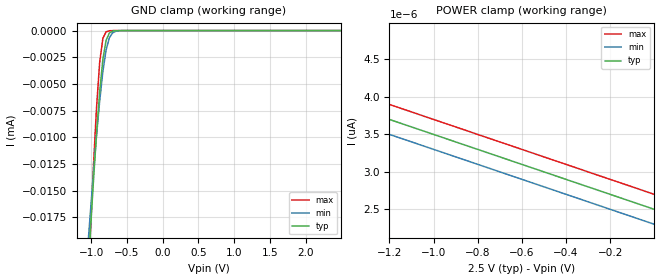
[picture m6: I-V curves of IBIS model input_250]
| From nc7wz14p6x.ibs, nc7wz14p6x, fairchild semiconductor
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[Model] input_250
Model_type Input
Vinh = 1.2V
Vinl = 0.8V
C_comp   0.27pF   0.26pF   0.34pF
[Voltage Range]   2.5V   2.3V   2.7V
[Temperature Range]   25.0   85.0   -40.0
[GND Clamp]
-2.5V     -213.9uA   -169.6uA   -279.2uA
-1.06V    -24.61uA   -21.54uA   -26.54uA
-1.015V   -19.38uA   -17.47uA   -19.61uA
-970mV    -14.4uA    -13.57uA   -13.11uA
-925mV    -9.784uA   -9.905uA   -7.344uA
-880mV    -5.752uA   -6.593uA   -2.963uA
-835mV    -2.675uA   -3.818uA   -719.8nA
-790mV    -902.1nA   -1.811uA   -118.4nA
-745mV    -231.9nA   -683.3nA   -17.29nA
-700mV    -52.85nA   -217.1nA   -2.475nA
-610mV    -2.545nA   -18.1nA    -50.97pA
2.495V    2.495pA    0A         2.495pA
[POWER Clamp]
-2.5V     5.174pA    276.7pA    5.2pA
-2.208V   4.708pA    4.579pA    4.908pA
-2.185V   4.685pA    4.523pA    4.885pA
-2.163V   4.663pA    4.483pA    4.863pA
-2.095V   4.595pA    4.398pA    4.795pA
-2.5mV    2.503pA    2.303pA    2.702pA
